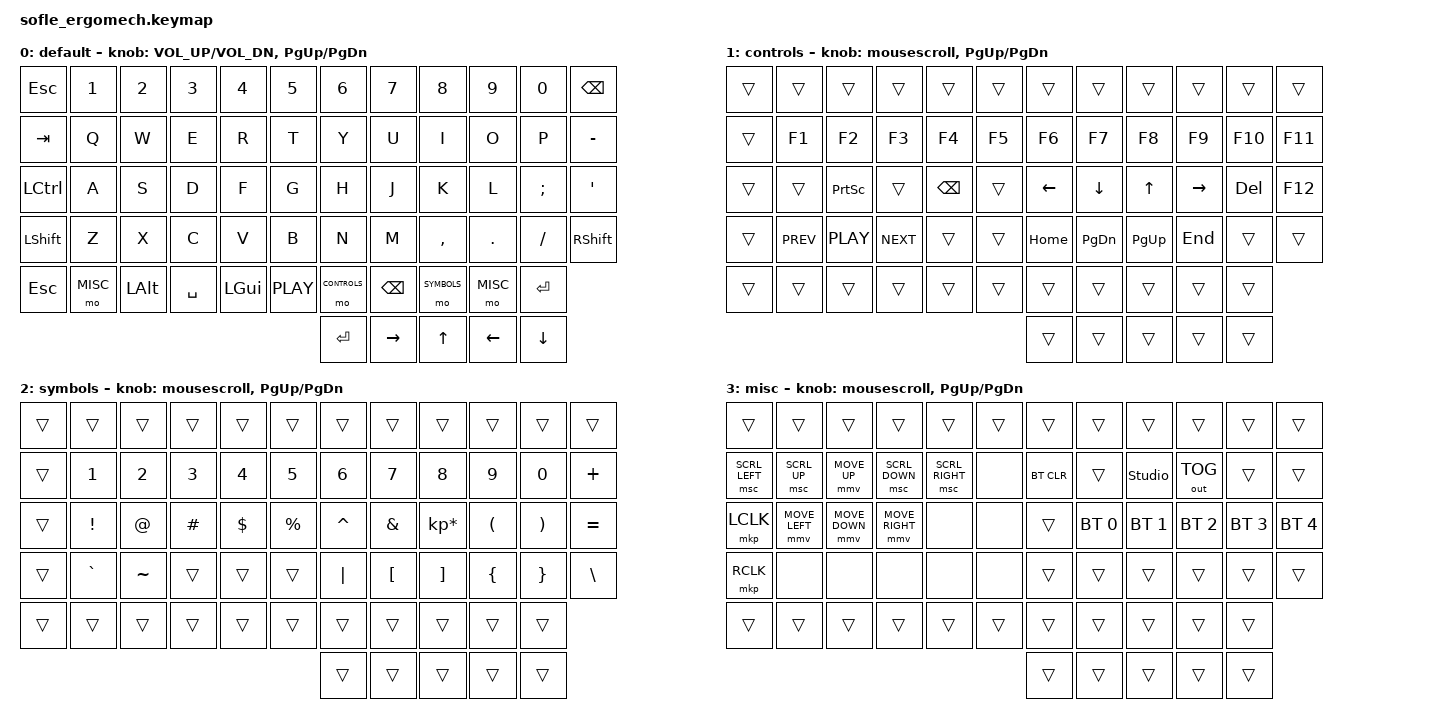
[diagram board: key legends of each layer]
/*
 * Copyright (c) 2020 The ZMK Contributors
 *
 * SPDX-License-Identifier: MIT
 */
#define ZMK_POINTING_DEFAULT_MOVE_VAL 2000 // 600
#define ZMK_POINTING_DEFAULT_SCRL_VAL 25   // 10
#include <dt-bindings/zmk/pointing.h>
#include <behaviors.dtsi>
#include <dt-bindings/zmk/bt.h>
#include <dt-bindings/zmk/ext_power.h>
#include <dt-bindings/zmk/keys.h>
#include <dt-bindings/zmk/outputs.h>
#include <dt-bindings/zmk/rgb.h>

#define BASE 0
#define CONTROLS 1
#define SYMBOLS 2
#define MISC 3

// Pointer tuning (carried over from the old config)
&mmv {
    acceleration-exponent = <1>;    // 1
    time-to-max-speed-ms = <900>;   // 40
    delay-ms = <0>;                 // 0
};

&msc {
    acceleration-exponent = <1>;    // 0
    time-to-max-speed-ms = <400>;   // 500
    delay-ms = <0>;                 // 10
};

/ {
    behaviors {
        mousescroll: mousescroll {
            compatible = "zmk,behavior-sensor-rotate";
            #sensor-binding-cells = <0>;
            bindings = <&msc SCRL_DOWN>, <&msc SCRL_UP>;
            tap-ms = <30>;
        };
    };

    keymap {
        compatible = "zmk,keymap";

        default_layer {
            label = "default";

            bindings = <
&kp ESC     &kp N1    &kp N2      &kp N3     &kp N4     &kp N5     &kp N6        &kp N7     &kp N8      &kp N9    &kp N0     &kp BACKSPACE
&kp TAB     &kp Q     &kp W       &kp E      &kp R      &kp T      &kp Y         &kp U      &kp I       &kp O     &kp P      &kp MINUS
&kp LCTRL   &kp A     &kp S       &kp D      &kp F      &kp G      &kp H         &kp J      &kp K       &kp L     &kp SEMI   &kp SQT
&kp LSHFT   &kp Z     &kp X       &kp C      &kp V      &kp B      &kp N         &kp M      &kp COMMA   &kp DOT   &kp FSLH   &kp RSHFT
&kp ESC     &mo MISC  &kp LALT    &kp SPACE  &kp LGUI   &kp C_PLAY  &mo CONTROLS  &kp BSPC    &mo SYMBOLS  &mo MISC   &kp RET
                                                                    &kp ENTER  &kp RIGHT  &kp UP  &kp LEFT  &kp DOWN
            >;

            sensor-bindings = <&inc_dec_kp C_VOL_UP C_VOL_DN &inc_dec_kp PG_UP PG_DN>;
        };

        controls_layer {
            label = "controls";

            bindings = <
&trans  &trans         &trans           &trans         &trans    &trans   &trans      &trans      &trans    &trans     &trans  &trans
&trans  &kp F1         &kp F2           &kp F3         &kp F4    &kp F5   &kp F6      &kp F7      &kp F8    &kp F9     &kp F10 &kp F11
&trans  &trans         &kp PRINTSCREEN  &trans         &kp BSPC  &trans   &kp LEFT    &kp DOWN    &kp UP    &kp RIGHT  &kp DEL &kp F12
&trans  &kp C_PREV     &kp C_PLAY       &kp C_NEXT     &trans    &trans   &kp HOME    &kp PG_DN   &kp PG_UP &kp END    &trans  &trans
&trans  &trans         &trans           &trans         &trans    &trans   &trans      &trans      &trans    &trans     &trans
                                                                    &trans  &trans  &trans  &trans  &trans
            >;

            sensor-bindings = <&mousescroll &inc_dec_kp PG_UP PG_DN>;
        };

        symbols_layer {
            label = "symbols";

            bindings = <
&trans  &trans      &trans      &trans      &trans      &trans       &trans      &trans      &trans           &trans      &trans      &trans
&trans  &kp N1      &kp N2      &kp N3      &kp N4      &kp N5       &kp N6      &kp N7      &kp N8           &kp N9      &kp N0      &kp PLUS
&trans  &kp EXCL    &kp AT      &kp HASH    &kp DLLR    &kp PRCNT    &kp CARET   &kp AMPS    &kp KP_ASTERISK  &kp LPAR    &kp RPAR    &kp EQUAL
&trans  &kp GRAVE   &kp TILDE   &trans      &trans      &trans       &kp PIPE    &kp LBKT    &kp RBKT         &kp LBRC    &kp RBRC    &kp BACKSLASH
&trans  &trans      &trans      &trans      &trans      &trans       &trans      &trans      &trans           &trans      &trans
                                                                    &trans  &trans  &trans  &trans  &trans
            >;

            sensor-bindings = <&mousescroll &inc_dec_kp PG_UP PG_DN>;
        };

        misc_layer {
            label = "misc";

            bindings = <
&trans           &trans         &trans          &trans           &trans            &trans   &trans       &trans         &trans          &trans        &trans         &trans
&msc SCRL_LEFT   &msc SCRL_UP   &mmv MOVE_UP    &msc SCRL_DOWN   &msc SCRL_RIGHT   &none    &bt BT_CLR   &trans         &studio_unlock  &out OUT_TOG  &trans         &trans
&mkp LCLK        &mmv MOVE_LEFT &mmv MOVE_DOWN  &mmv MOVE_RIGHT  &none             &none    &trans       &bt BT_SEL 0   &bt BT_SEL 1    &bt BT_SEL 2  &bt BT_SEL 3   &bt BT_SEL 4
&mkp RCLK        &none          &none           &none            &none             &none    &trans       &trans         &trans          &trans        &trans         &trans
&trans           &trans         &trans          &trans           &trans            &trans   &trans       &trans         &trans          &trans        &trans
                                                                    &trans  &trans  &trans  &trans  &trans
            >;

            sensor-bindings = <&mousescroll &inc_dec_kp PG_UP PG_DN>;
        };
    };
};
